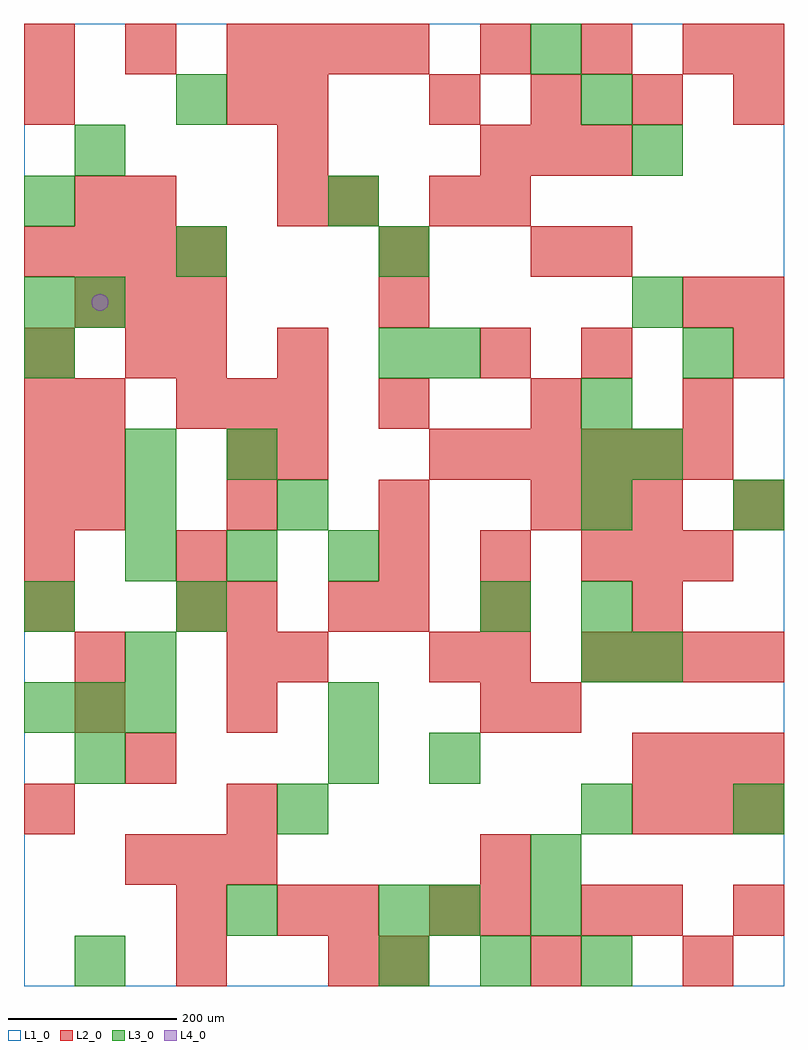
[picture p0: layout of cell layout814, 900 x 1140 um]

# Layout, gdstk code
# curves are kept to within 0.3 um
import gdstk
lib = gdstk.Library(unit=1e-6, precision=1e-09)
def R(c, l, rs):  # rectangles x0, y0, x1, y1
    for r in rs: c.add(gdstk.rectangle(r[:2], r[2:], *l))
def A(c, l, x, y, w, h, nx, ny, dx, dy):  # array of equal rectangles
    R(c, l, [(x+i*dx, y+j*dy, x+i*dx+w, y+j*dy+h) for i in range(nx) for j in range(ny)])
def P(c, l, *ps):  # polygons
    for p in ps: c.add(gdstk.Polygon(p, *l))
L1_0 = (1, 0)
L2_0 = (2, 0)
L3_0 = (3, 0)
L4_0 = (4, 0)

layout814 = lib.new_cell('layout814')
R(layout814, L1_0, [(0,0,900,1140)])
A(layout814, L2_0, 420, 0, 60, 60, 3, 2, 180, 660)
A(layout814, L2_0, 120, 120, 60, 60, 3, 1, 60, 0)
A(layout814, L2_0, 720, 180, 60, 60, 3, 2, 60, 60)
A(layout814, L2_0, 240, 300, 60, 60, 1, 3, 0, 60)
A(layout814, L2_0, 540, 300, 60, 60, 1, 3, 0, 60)
A(layout814, L2_0, 660, 360, 60, 60, 4, 1, 60, 0)
A(layout814, L2_0, 0, 420, 60, 60, 1, 6, 0, 60)
A(layout814, L2_0, 720, 420, 60, 60, 1, 3, 0, 60)
A(layout814, L2_0, 420, 480, 60, 60, 3, 1, 120, 0)
A(layout814, L2_0, 60, 540, 60, 60, 4, 1, 180, 0)
A(layout814, L2_0, 480, 600, 60, 60, 6, 1, 60, 0)
A(layout814, L2_0, 180, 660, 60, 60, 3, 1, 60, 0)
A(layout814, L2_0, 60, 780, 60, 60, 3, 1, 60, 0)
A(layout814, L2_0, 0, 840, 60, 60, 4, 1, 60, 0)
A(layout814, L2_0, 300, 900, 60, 60, 1, 3, 0, 60)
A(layout814, L2_0, 540, 960, 60, 60, 3, 1, 60, 0)
A(layout814, L2_0, 480, 1020, 60, 60, 4, 1, 120, 0)
A(layout814, L2_0, 0, 1080, 60, 60, 3, 1, 120, 0)
A(layout814, L2_0, 300, 1080, 60, 60, 3, 1, 60, 0)
A(layout814, L2_0, 540, 1080, 60, 60, 3, 1, 120, 0)
R(layout814, L2_0, [(180,0,240,60), (360,0,420,60), (180,60,240,120), (300,60,360,120), (360,60,420,120), (480,60,540,120), (540,60,600,120), (660,60,720,120), (720,60,780,120), (840,60,900,120), (540,120,600,180), (0,180,60,240), (240,180,300,240), (120,240,180,300), (60,300,120,360), (600,300,660,360), (60,360,120,420), (300,360,360,420), (480,360,540,420), (180,420,240,480), (360,420,420,480), (420,420,480,480), (180,480,240,540), (780,480,840,540), (660,540,720,600), (840,540,900,600), (60,600,120,660), (240,600,300,660), (300,600,360,660), (60,660,120,720), (120,720,180,780), (180,720,240,780), (300,720,360,780), (540,720,600,780), (660,720,720,780), (840,720,900,780), (420,780,480,840), (780,780,840,840), (840,780,900,840), (420,840,480,900), (600,840,660,900), (660,840,720,900), (60,900,120,960), (120,900,180,960), (360,900,420,960), (480,900,540,960), (540,900,600,960), (0,1020,60,1080), (240,1020,300,1080), (840,1080,900,1140)])
A(layout814, L3_0, 420, 0, 60, 60, 3, 1, 120, 0)
A(layout814, L3_0, 0, 300, 60, 60, 3, 1, 60, 0)
A(layout814, L3_0, 120, 480, 60, 60, 3, 1, 120, 0)
A(layout814, L3_0, 660, 540, 60, 60, 1, 3, 0, 60)
A(layout814, L3_0, 720, 600, 60, 60, 1, 3, 0, 180)
R(layout814, L3_0, [(60,0,120,60), (240,60,300,120), (420,60,480,120), (480,60,540,120), (600,60,660,120), (600,120,660,180), (300,180,360,240), (660,180,720,240), (840,180,900,240), (60,240,120,300), (360,240,420,300), (480,240,540,300), (360,300,420,360), (120,360,180,420), (660,360,720,420), (720,360,780,420), (0,420,60,480), (180,420,240,480), (540,420,600,480), (660,420,720,480), (120,540,180,600), (300,540,360,600), (840,540,900,600), (120,600,180,660), (240,600,300,660), (0,720,60,780), (420,720,480,780), (480,720,540,780), (780,720,840,780), (0,780,60,840), (60,780,120,840), (180,840,240,900), (420,840,480,900), (0,900,60,960), (360,900,420,960), (60,960,120,1020), (180,1020,240,1080), (660,1020,720,1080), (600,1080,660,1140)])
P(layout814, L4_0, [(100,810),(99.239,813.827),(97.071,817.071),(93.827,819.239),(90,820),(86.173,819.239),(82.929,817.071),(80.761,813.827),(80,810),(80.761,806.173),(82.929,802.929),(86.173,800.761),(90,800),(93.827,800.761),(97.071,802.929),(99.239,806.173)])

lib.write_gds('layout814.gds')
